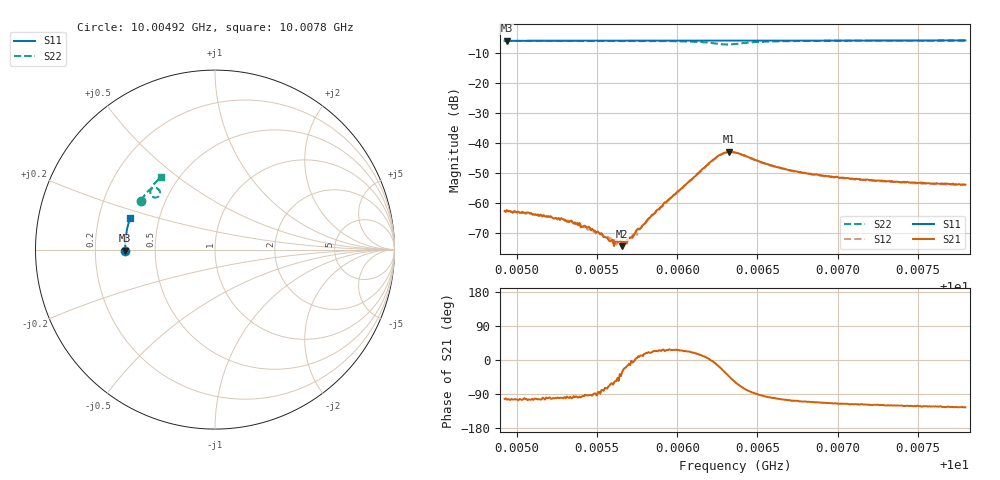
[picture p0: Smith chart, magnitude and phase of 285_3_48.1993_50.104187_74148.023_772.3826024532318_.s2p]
#  HZ  S  RI  R  50.00
! Rohde & Schwarz Vector Network Analyzer
! Rohde-Schwarz,ZNB20-2Port,1311601062101988,3.16
! Created: UTC 3/20/2024, 11:48:51 AM
! freq[Hz]  re:S11  im:S11  re:S21  im:S21  re:S12  im:S12  re:S22  im:S22
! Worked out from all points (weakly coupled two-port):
!   401 points, 10.00492 GHz to 10.0078 GHz, reference 50 ohm
!   highest |S21| = -42.99 dB at 10.00632 GHz (marker M1); lowest = -74.4 dB at 10.00566 GHz (marker M2)
!   lowest |S11| = -6.0 dB at 10.00494 GHz (marker M3), VSWR 3.00, Z = 16.7 - j0.28 ohm
!   |S11| at or under -10 dB: nowhere
!   |S22| runs from -7.3 to -6.0 dB; largest |S21 - S12| = 0.00039
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1.0004923e10  -0.4994 -0.00718  -0.000165 -0.000715  -0.000133 -0.000723  -0.4119 0.2734
1.0004937e10  -0.4994 -0.00629  -0.000189 -0.000731  -0.000133 -0.000726  -0.4113 0.2743
1.0005074e10  -0.4997 0.0027  -0.000163 -0.000661  -0.000114 -0.00066  -0.4063 0.2824
1.0005275e10  -0.4998 0.0158  -9.24e-05 -0.000548  -3.78e-05 -0.000529  -0.3984 0.2943
1.0005404e10  -0.4998 0.0242  -4.22e-05 -0.000394  -5e-05 -0.000401  -0.3931 0.302
1.000544e10  -0.4999 0.0264  -2.32e-05 -0.000391  -1.91e-06 -0.000353  -0.3914 0.3042
1.0005512e10  -0.4996 0.0311  2.92e-05 -0.00031  5.8e-05 -0.000313  -0.3881 0.3085
1.0005591e10  -0.4995 0.0363  0.000117 -0.00021  0.000105 -0.00023  -0.3842 0.3134
1.0005613e10  -0.4994 0.0377  0.000127 -0.000189  0.00017 -0.000174  -0.3832 0.3147
1.0005656e10  -0.4994 0.0404  0.000162 -9.88e-05  0.000219 -9.35e-05  -0.3808 0.3176
1.000567e10  -0.4993 0.0414  0.000208 -8.32e-05  0.000198 -0.000113  -0.38 0.3183
1.000572e10  -0.4991 0.0446  0.00026 -3.27e-05  0.000291 1.01e-05  -0.3773 0.3215
1.0005764e10  -0.4989 0.0475  0.000359 5.4e-05  0.000352 8.61e-05  -0.3745 0.3242
1.0005886e10  -0.4983 0.0553  0.000694 0.000336  0.00069 0.000372  -0.3655 0.3323
1.0006231e10  -0.4956 0.0776  0.00536 -0.000656  0.00528 -0.000391  -0.3098 0.3293
1.0006281e10  -0.4949 0.0806  0.00595 -0.00282  0.00594 -0.0025  -0.307 0.3094
1.0006324e10  -0.4946 0.083  0.00512 -0.0049  0.00521 -0.00456  -0.3178 0.294
1.000636e10  -0.4945 0.0853  0.00367 -0.00588  0.00389 -0.00558  -0.3321 0.2898
1.0006597e10  -0.4927 0.1004  -0.000726 -0.00405  -0.000533 -0.00401  -0.3598 0.3282
1.0006841e10  -0.4898 0.116  -0.00108 -0.00277  -0.000939 -0.00278  -0.3492 0.352
1.0007323e10  -0.4827 0.1462  -0.00117 -0.00199  -0.00102 -0.002  -0.3252 0.381
1.0007797e10  -0.4738 0.1754  -0.00115 -0.00165  -0.00106 -0.00166  -0.3011 0.4031
